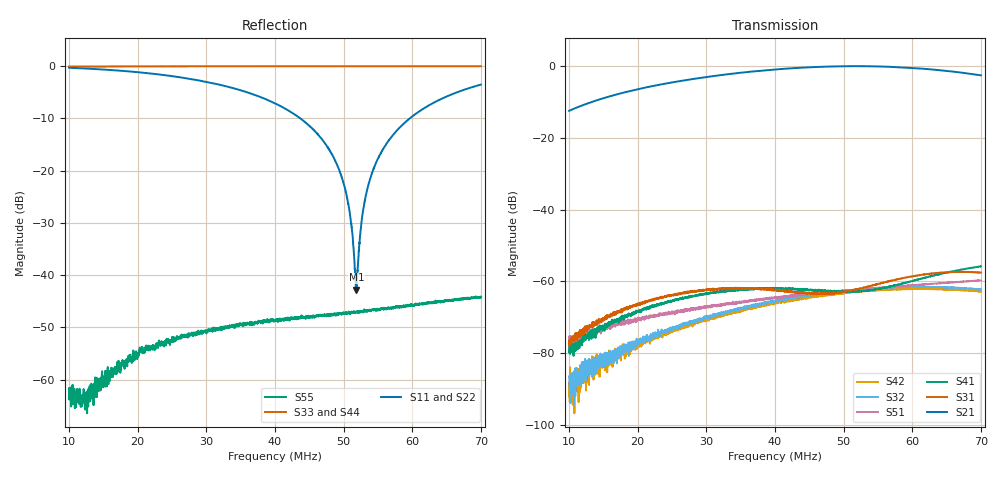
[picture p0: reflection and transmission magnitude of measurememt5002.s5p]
#  HZ  S  RI  R  50.00
! Rohde & Schwarz ZVT8 8Ports - Version 4.11 - 1300.0000k08 SN: 100242
! Date: 2026-07-06 11:38:48
! Measurements: S11 S12 S13 S14 S15 S21 S22 S23 S24 S25 S31 S32 S33 S34 S35 S41 S42 S43 S44 S45 S51 S52 S53 S54 S55
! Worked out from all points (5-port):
!   3001 points, 10 MHz to 70 MHz, reference 50 ohm
!   strongest paths, dB at 10 MHz, 25 MHz, 40 MHz, 55 MHz, 70 MHz:
!     S21: -12.5, -4.6, -1.0, -0.1, -2.6
!     S31: -76.5, -63.9, -62.4, -60.8, -57.6
!     S41: -78.4, -65.5, -62.0, -62.2, -55.8
!     S51: -75.9, -68.5, -64.7, -61.8, -59.8
!     S32: -86.5, -73.1, -65.7, -61.9, -62.3
!     S42: -92.1, -74.0, -66.0, -62.5, -62.9
!   lowest |S11| = -42.8 dB at 51.86 MHz (marker M1), VSWR 1.01, Z = 49.8 - j0.701 ohm
!   |S11| at or under -10 dB: 43.68 MHz to 59.64 MHz (15.96 MHz wide, 30.9 % of centre)
